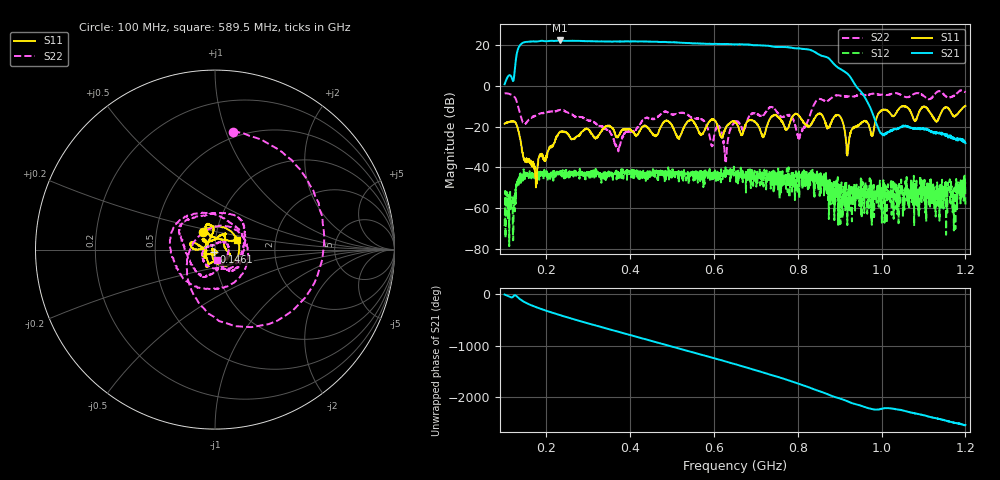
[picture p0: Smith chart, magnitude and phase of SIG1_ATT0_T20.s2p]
# Hz S DB R 50
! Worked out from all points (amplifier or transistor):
!   1601 points, 100 MHz to 1.2 GHz, reference 50 ohm
!   highest |S21| = 22.5 dB at 232 MHz (marker M1)
!   |S21| within 3 dB of that: 134.6 MHz to 740.5 MHz (605.9 MHz wide, 138 % of centre)
!   unconditionally stable (mu >= 1): start of sweep to end of sweep
!   at 282.9 MHz: K = 5.67, MAG = 22.4 dB, |S12| = -43.6 dB
!   at 650 MHz: K = 5.99, MAG = 20.7 dB, |S12| = -42.3 dB
!   at 1.2 GHz: K = 4869.63, MAG = -24.8 dB, |S12| = -58.3 dB
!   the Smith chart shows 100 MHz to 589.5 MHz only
!   S11 on the Smith chart (normalised r, x): 100 MHz: 0.86, +0.17; 146.1 MHz: 0.99, -0.03; 589.5 MHz: 1.27, +0.14
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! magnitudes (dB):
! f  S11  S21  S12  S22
! 100 MHz  -18.5  0.9  -68.9  -3.5
! 126.8 MHz  -18.3  12.9  -57.9  -6.4
! 146.1 MHz  -36.3  21.5  -44.2  -18.6
! 174.2 MHz  -45.4  22.0  -43.2  -14.5
! 232 MHz  -22.7  22.5  -43.0  -11.7
! 283.6 MHz  -22.7  22.2  -42.3  -15.3
! 370.2 MHz  -25.2  22.0  -45.2  -31.5
! 467.1 MHz  -23.1  21.8  -41.4  -14.7
! 544.8 MHz  -16.6  21.1  -42.5  -15.3
! 569.6 MHz  -23.6  20.9  -44.4  -16.2
! 589.5 MHz  -17.4  20.8  -40.8  -24.5
! 612.2 MHz  -22.3  20.8  -46.5  -20.0
! 628 MHz  -20.9  20.7  -44.5  -36.5
! 650 MHz  -17.9  20.5  -42.3  -17.8
! 717.4 MHz  -25.0  20.0  -45.1  -14.4
! 738 MHz  -15.2  19.6  -44.2  -10.2
! 803.3 MHz  -14.7  18.5  -55.2  -26.0
! 833.6 MHz  -18.4  17.5  -45.1  -11.6
! 897.5 MHz  -14.4  8.9  -49.0  -4.6
! 918.8 MHz  -31.9  6.0  -54.3  -5.2
! 1.017 GHz  -12.7  -22.4  -56.3  -4.3
! 1.2 GHz  -9.7  -28.1  -58.3  -3.2
